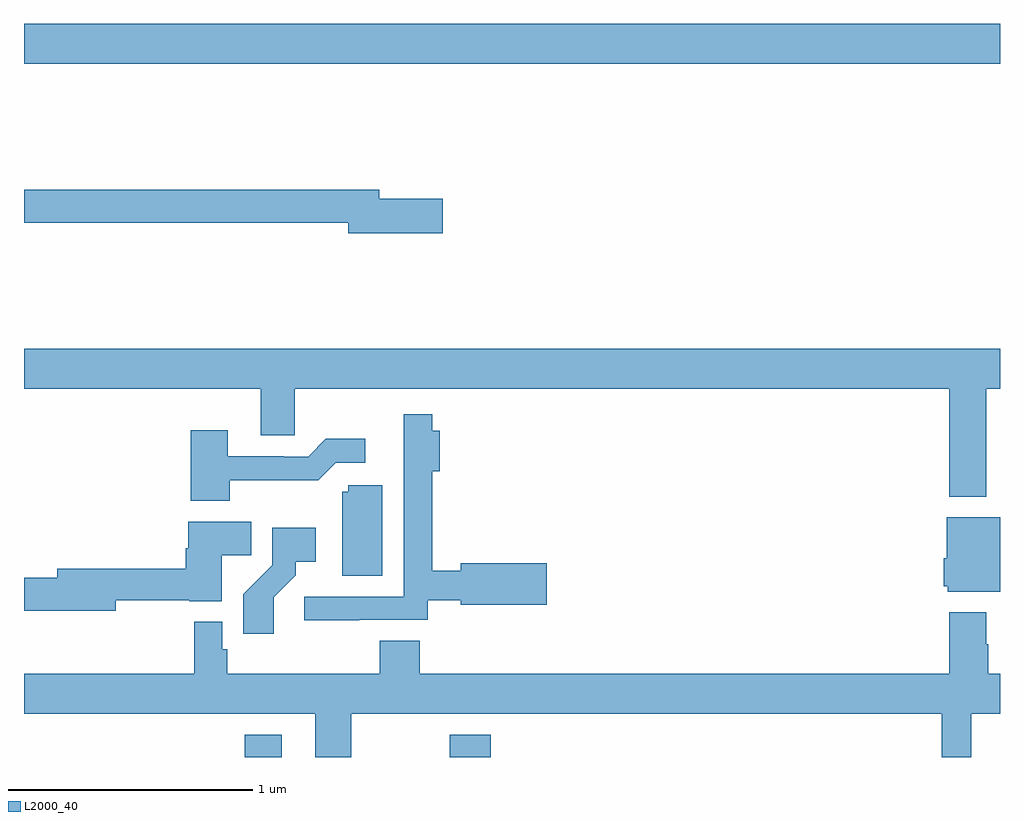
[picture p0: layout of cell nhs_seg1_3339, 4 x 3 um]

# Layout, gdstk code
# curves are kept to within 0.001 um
import gdstk
lib = gdstk.Library(unit=1e-6, precision=1e-09)
def R(c, l, rs):  # rectangles x0, y0, x1, y1
    for r in rs: c.add(gdstk.rectangle(r[:2], r[2:], *l))
def P(c, l, *ps):  # polygons
    for p in ps: c.add(gdstk.Polygon(p, *l))
L2000_40 = (2000, 40)

nhs_seg1_3339 = lib.new_cell('nhs_seg1_3339')
R(nhs_seg1_3339, L2000_40, [(291.905,574.199,292.057,574.291), (292.745,574.199,292.912,574.291), (291,577.04,295,577.204)])
P(nhs_seg1_3339, L2000_40, [(292.717,576.488),(292.456,576.488),(292.456,576.524),(291,576.524),(291,576.388),(292.328,576.388),(292.328,576.346),(292.717,576.346)],
  [(294.943,575.708),(295,575.708),(295,575.872),(291,575.872),(291,575.708),(291.971,575.708),(291.971,575.518),(292.11,575.518),(292.11,575.708),(294.791,575.708),(294.791,575.267),(294.943,575.267)],
  [(292.373,574.761),(292.654,574.761),(292.654,574.842),(292.79,574.842),(292.79,574.823),(293.143,574.823),(293.143,574.994),(292.79,574.994),(292.79,574.963),(292.673,574.963),(292.673,575.371),(292.703,575.371),(292.703,575.536),(292.673,575.536),(292.673,575.605),(292.556,575.605),(292.556,575.382),(292.557,575.382),(292.557,574.857),(292.149,574.857),(292.149,574.759),(292.373,574.759)],
  [(291.843,575.334),(292.205,575.333),(292.278,575.406),(292.399,575.406),(292.399,575.503),(292.237,575.503),(292.164,575.43),(292.064,575.43),(292.064,575.433),(291.835,575.433),(291.835,575.539),(291.683,575.539),(291.683,575.249),(291.843,575.249)],
  [(292.468,575.313),(292.329,575.313),(292.329,575.286),(292.304,575.286),(292.304,574.942),(292.468,574.942)],
  [(295,575.182),(294.782,575.182),(294.782,575.013),(294.77,575.013),(294.77,574.899),(294.786,574.899),(294.786,574.877),(295,574.877)],
  [(291.376,574.842),(291.678,574.842),(291.678,574.838),(291.811,574.838),(291.811,575.026),(291.932,575.026),(291.932,575.164),(291.674,575.164),(291.674,575.054),(291.662,575.054),(291.662,574.97),(291.137,574.97),(291.137,574.934),(291,574.934),(291,574.799),(291.376,574.799)],
  [(292.024,574.855),(292.114,574.945),(292.114,575),(292.195,575),(292.195,575.14),(292.017,575.14),(292.017,574.985),(291.898,574.866),(291.898,574.704),(292.024,574.704)],
  [(292.341,574.376),(294.762,574.376),(294.762,574.199),(294.883,574.199),(294.883,574.376),(295,574.376),(295,574.54),(294.951,574.54),(294.951,574.661),(294.943,574.661),(294.943,574.792),(294.791,574.792),(294.791,574.54),(292.622,574.54),(292.622,574.676),(292.457,574.676),(292.457,574.54),(291.833,574.54),(291.833,574.641),(291.813,574.641),(291.813,574.753),(291.697,574.753),(291.697,574.54),(291,574.54),(291,574.376),(292.193,574.376),(292.193,574.199),(292.341,574.199)])

lib.write_gds('nhs_seg1_3339.gds')
